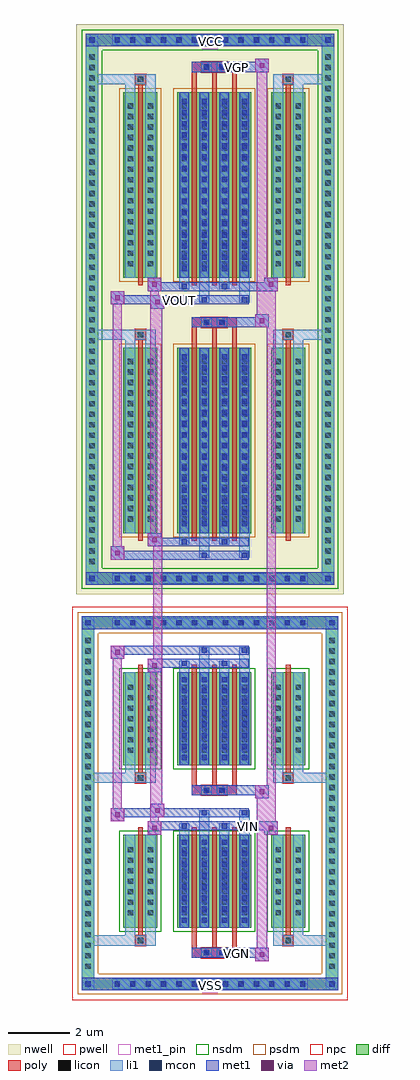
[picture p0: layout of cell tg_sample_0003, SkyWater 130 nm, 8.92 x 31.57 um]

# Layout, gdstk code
import gdstk
lib = gdstk.Library(unit=1e-6, precision=5e-09)
def R(c, l, rs):  # rectangles x0, y0, x1, y1
    for r in rs: c.add(gdstk.rectangle(r[:2], r[2:], *l))
def A(c, l, x, y, w, h, nx, ny, dx, dy):  # array of equal rectangles
    R(c, l, [(x+i*dx, y+j*dy, x+i*dx+w, y+j*dy+h) for i in range(nx) for j in range(ny)])
def P(c, l, *ps):  # polygons
    for p in ps: c.add(gdstk.Polygon(p, *l))
nwell = (64, 20)
pwell = (64, 44)
diff = (65, 20)
poly = (66, 20)
licon = (66, 44)
li1 = (67, 20)
mcon = (67, 44)
met1_pin = (68, 16)
met1 = (68, 20)
via = (68, 44)
met2 = (69, 20)
nsdm = (93, 44)
psdm = (94, 20)
npc = (95, 20)

tg_sample_0003 = lib.new_cell('tg_sample_0003')
R(tg_sample_0003, nwell, [(-4.33,6.76,4.33,25.21)])
R(tg_sample_0003, pwell, [(-4.46,-6.36,4.46,6.36)])
A(tg_sample_0003, diff, -3.205, -6.05, 0.41, 0.41, 13, 2, 0.5, 11.69)
A(tg_sample_0003, diff, -4.15, -5.475, 0.41, 0.41, 1, 32, 0, 0.34)
A(tg_sample_0003, diff, 3.74, -5.475, 0.41, 0.41, 1, 32, 0, 0.34)
A(tg_sample_0003, diff, -3.205, 7.07, 0.41, 0.41, 13, 2, 0.5, 17.42)
A(tg_sample_0003, diff, -4.02, 7.62, 0.41, 0.41, 1, 49, 0, 0.34)
A(tg_sample_0003, diff, 3.61, 7.62, 0.41, 0.41, 1, 49, 0, 0.34)
R(tg_sample_0003, diff, [(-3.205,-6.05,3.205,-5.64), (-4.15,-5.475,-3.74,5.475), (3.74,-5.475,4.15,5.475), (-2.8,-4.02,-1.7,-1.02), (-1.06,-4.02,1.34,-1.02), (1.98,-4.02,3.08,-1.02), (-2.8,1.24,-1.7,4.24), (-1.06,1.24,1.34,4.24), (1.98,1.24,3.08,4.24), (-3.205,5.64,3.205,6.05), (-3.205,7.07,3.205,7.48), (-4.02,7.62,-3.61,24.35), (3.61,7.62,4.02,24.35), (-2.8,8.745,-1.7,14.745), (-1.06,8.745,1.34,14.745), (1.98,8.745,3.08,14.745), (-2.8,17.005,-1.7,23.005), (-1.06,17.005,1.34,23.005), (1.98,17.005,3.08,23.005), (-3.205,24.49,3.205,24.9)])
P(tg_sample_0003, diff, [(4.15,6.05),(-4.15,6.05),(-4.15,-5.64),(-3.74,-5.64),(-3.74,5.64),(3.74,5.64),(3.74,-5.64),(-3.74,-5.64),(-4.15,-5.64),(-4.15,-6.05),(4.15,-6.05)],
  [(4.02,7.07),(-4.02,7.07),(-4.02,24.49),(-3.61,24.49),(-3.61,7.48),(3.61,7.48),(3.61,24.49),(-3.61,24.49),(-4.02,24.49),(-4.02,24.9),(4.02,24.9)])
A(tg_sample_0003, poly, -0.585, -4.67, 0.15, 0.4, 3, 2, 0.65, 5.26)
A(tg_sample_0003, poly, -0.585, -4.27, 0.15, 3.5, 3, 2, 0.65, 5.26)
A(tg_sample_0003, poly, -0.585, 8.495, 0.15, 6.5, 3, 2, 0.65, 8.26)
A(tg_sample_0003, poly, -0.585, 14.995, 0.15, 0.4, 3, 2, 0.65, 8.26)
R(tg_sample_0003, poly, [(-0.585,-5,0.865,-4.67), (-0.275,-5,0.055,-4.67), (0.225,-5,0.555,-4.67), (-2.415,-4.6,-2.085,-4.27), (-2.415,-4.6,-2.085,-4.27), (2.365,-4.6,2.695,-4.27), (2.365,-4.6,2.695,-4.27), (-2.325,-4.27,-2.175,-0.77), (2.455,-4.27,2.605,-0.77), (-0.585,0.26,0.865,0.59), (-0.275,0.26,0.055,0.59), (0.225,0.26,0.555,0.59), (-2.415,0.66,-2.085,0.99), (-2.415,0.66,-2.085,0.99), (2.365,0.66,2.695,0.99), (2.365,0.66,2.695,0.99), (-2.325,0.99,-2.175,4.49), (2.455,0.99,2.605,4.49), (-2.325,8.495,-2.175,14.995), (2.455,8.495,2.605,14.995), (-2.415,14.995,-2.085,15.325), (-2.415,14.995,-2.085,15.325), (2.365,14.995,2.695,15.325), (2.365,14.995,2.695,15.325), (-0.585,15.395,0.865,15.725), (-0.275,15.395,0.055,15.725), (0.225,15.395,0.555,15.725), (-2.325,16.755,-2.175,23.255), (2.455,16.755,2.605,23.255), (-2.415,23.255,-2.085,23.585), (-2.415,23.255,-2.085,23.585), (2.365,23.255,2.695,23.585), (2.365,23.255,2.695,23.585), (-0.585,23.655,0.865,23.985), (-0.275,23.655,0.055,23.985), (0.225,23.655,0.555,23.985)])
A(tg_sample_0003, licon, -3.085, -5.93, 0.17, 0.17, 13, 2, 0.5, 11.69)
A(tg_sample_0003, licon, -4.03, -5.355, 0.17, 0.17, 1, 32, 0, 0.34)
A(tg_sample_0003, licon, 3.86, -5.355, 0.17, 0.17, 1, 32, 0, 0.34)
A(tg_sample_0003, licon, -2.66, -3.625, 0.17, 0.17, 1, 7, 0, 0.34)
A(tg_sample_0003, licon, -2.01, -3.625, 0.17, 0.17, 1, 7, 0, 0.34)
A(tg_sample_0003, licon, -0.92, -3.625, 0.17, 0.17, 4, 7, 0.65, 0.34)
A(tg_sample_0003, licon, 2.12, -3.625, 0.17, 0.17, 1, 7, 0, 0.34)
A(tg_sample_0003, licon, 2.77, -3.625, 0.17, 0.17, 1, 7, 0, 0.34)
A(tg_sample_0003, licon, -2.66, 1.635, 0.17, 0.17, 1, 7, 0, 0.34)
A(tg_sample_0003, licon, -2.01, 1.635, 0.17, 0.17, 1, 7, 0, 0.34)
A(tg_sample_0003, licon, -0.92, 1.635, 0.17, 0.17, 4, 7, 0.65, 0.34)
A(tg_sample_0003, licon, 2.12, 1.635, 0.17, 0.17, 1, 7, 0, 0.34)
A(tg_sample_0003, licon, 2.77, 1.635, 0.17, 0.17, 1, 7, 0, 0.34)
A(tg_sample_0003, licon, -3.085, 7.19, 0.17, 0.17, 13, 2, 0.5, 17.42)
A(tg_sample_0003, licon, -3.9, 7.74, 0.17, 0.17, 1, 49, 0, 0.34)
A(tg_sample_0003, licon, 3.73, 7.74, 0.17, 0.17, 1, 49, 0, 0.34)
A(tg_sample_0003, licon, -2.66, 9.11, 0.17, 0.17, 1, 16, 0, 0.34)
A(tg_sample_0003, licon, -2.01, 9.11, 0.17, 0.17, 1, 16, 0, 0.34)
A(tg_sample_0003, licon, -0.92, 9.11, 0.17, 0.17, 4, 16, 0.65, 0.34)
A(tg_sample_0003, licon, 2.12, 9.11, 0.17, 0.17, 1, 16, 0, 0.34)
A(tg_sample_0003, licon, 2.77, 9.11, 0.17, 0.17, 1, 16, 0, 0.34)
A(tg_sample_0003, licon, -2.66, 17.37, 0.17, 0.17, 1, 16, 0, 0.34)
A(tg_sample_0003, licon, -2.01, 17.37, 0.17, 0.17, 1, 16, 0, 0.34)
A(tg_sample_0003, licon, -0.92, 17.37, 0.17, 0.17, 4, 16, 0.65, 0.34)
A(tg_sample_0003, licon, 2.12, 17.37, 0.17, 0.17, 1, 16, 0, 0.34)
A(tg_sample_0003, licon, 2.77, 17.37, 0.17, 0.17, 1, 16, 0, 0.34)
R(tg_sample_0003, licon, [(-0.195,-4.92,-0.025,-4.75), (0.305,-4.92,0.475,-4.75), (-2.335,-4.52,-2.165,-4.35), (2.445,-4.52,2.615,-4.35), (-0.195,0.34,-0.025,0.51), (0.305,0.34,0.475,0.51), (-2.335,0.74,-2.165,0.91), (2.445,0.74,2.615,0.91), (-2.335,15.075,-2.165,15.245), (2.445,15.075,2.615,15.245), (-0.195,15.475,-0.025,15.645), (0.305,15.475,0.475,15.645), (-2.335,23.335,-2.165,23.505), (2.445,23.335,2.615,23.505), (-0.195,23.735,-0.025,23.905), (0.305,23.735,0.475,23.905)])
A(tg_sample_0003, li1, -3.165, -6.01, 0.33, 0.33, 13, 2, 0.5, 11.69)
A(tg_sample_0003, li1, -4.11, -5.435, 0.33, 0.33, 1, 32, 0, 0.34)
A(tg_sample_0003, li1, 3.78, -5.435, 0.33, 0.33, 1, 32, 0, 0.34)
A(tg_sample_0003, li1, -1, -4.02, 0.33, 3, 4, 2, 0.65, 5.26)
A(tg_sample_0003, li1, -0.92, -3.865, 0.17, 0.17, 4, 8, 0.65, 0.36)
A(tg_sample_0003, li1, -0.92, -3.865, 0.17, 2.69, 4, 2, 0.65, 5.26)
A(tg_sample_0003, li1, -2.74, -3.705, 0.33, 0.33, 1, 7, 0, 0.34)
A(tg_sample_0003, li1, -2.09, -3.705, 0.33, 0.33, 1, 7, 0, 0.34)
A(tg_sample_0003, li1, -1, -3.705, 0.33, 0.33, 4, 7, 0.65, 0.34)
A(tg_sample_0003, li1, 2.04, -3.705, 0.33, 0.33, 1, 7, 0, 0.34)
A(tg_sample_0003, li1, 2.69, -3.705, 0.33, 0.33, 1, 7, 0, 0.34)
A(tg_sample_0003, li1, -0.92, 1.395, 0.17, 0.17, 4, 8, 0.65, 0.36)
A(tg_sample_0003, li1, -2.74, 1.555, 0.33, 0.33, 1, 7, 0, 0.34)
A(tg_sample_0003, li1, -2.09, 1.555, 0.33, 0.33, 1, 7, 0, 0.34)
A(tg_sample_0003, li1, -1, 1.555, 0.33, 0.33, 4, 7, 0.65, 0.34)
A(tg_sample_0003, li1, 2.04, 1.555, 0.33, 0.33, 1, 7, 0, 0.34)
A(tg_sample_0003, li1, 2.69, 1.555, 0.33, 0.33, 1, 7, 0, 0.34)
A(tg_sample_0003, li1, -3.165, 7.11, 0.33, 0.33, 13, 2, 0.5, 17.42)
A(tg_sample_0003, li1, -3.98, 7.66, 0.33, 0.33, 1, 49, 0, 0.34)
A(tg_sample_0003, li1, 3.65, 7.66, 0.33, 0.33, 1, 49, 0, 0.34)
A(tg_sample_0003, li1, -1, 8.745, 0.33, 6, 4, 2, 0.65, 8.26)
A(tg_sample_0003, li1, -0.92, 8.96, 0.17, 0.17, 4, 16, 0.65, 0.36)
A(tg_sample_0003, li1, -0.92, 8.96, 0.17, 5.57, 4, 2, 0.65, 8.26)
A(tg_sample_0003, li1, -2.74, 9.03, 0.33, 0.33, 1, 16, 0, 0.34)
A(tg_sample_0003, li1, -2.09, 9.03, 0.33, 0.33, 1, 16, 0, 0.34)
A(tg_sample_0003, li1, -1, 9.03, 0.33, 0.33, 4, 16, 0.65, 0.34)
A(tg_sample_0003, li1, 2.04, 9.03, 0.33, 0.33, 1, 16, 0, 0.34)
A(tg_sample_0003, li1, 2.69, 9.03, 0.33, 0.33, 1, 16, 0, 0.34)
A(tg_sample_0003, li1, -0.92, 17.22, 0.17, 0.17, 4, 16, 0.65, 0.36)
A(tg_sample_0003, li1, -2.74, 17.29, 0.33, 0.33, 1, 16, 0, 0.34)
A(tg_sample_0003, li1, -2.09, 17.29, 0.33, 0.33, 1, 16, 0, 0.34)
A(tg_sample_0003, li1, -1, 17.29, 0.33, 0.33, 4, 16, 0.65, 0.34)
A(tg_sample_0003, li1, 2.04, 17.29, 0.33, 0.33, 1, 16, 0, 0.34)
A(tg_sample_0003, li1, 2.69, 17.29, 0.33, 0.33, 1, 16, 0, 0.34)
R(tg_sample_0003, li1, [(-4.15,-6.05,-3.74,-5.64), (3.74,-6.05,4.15,-5.64), (-3.165,-6.01,3.165,-5.68), (-4.03,-5.93,-3.86,-5.76), (-4.03,-5.93,-3.86,-5.76), (3.86,-5.93,4.03,-5.76), (3.86,-5.93,4.03,-5.76), (-4.15,-5.64,-3.74,5.64), (3.74,-5.64,4.15,5.64), (-0.275,-5,0.055,-4.67), (0.225,-5,0.555,-4.67), (-4.15,-4.6,-2.415,-4.27), (-2.74,-4.6,-2.415,-4.27), (-2.74,-4.6,-2.41,-4.02), (-2.415,-4.6,-2.085,-4.27), (-2.09,-4.6,-1.76,-4.02), (-2.085,-4.6,-1.76,-4.27), (2.04,-4.6,2.365,-4.27), (2.04,-4.6,2.37,-4.02), (2.365,-4.6,2.695,-4.27), (2.365,-4.6,4.15,-4.27), (2.69,-4.6,3.02,-4.02), (2.695,-4.6,3.02,-4.27), (-2.74,-4.02,-2.41,-1.02), (-2.09,-4.02,-1.76,-1.02), (2.04,-4.02,2.37,-1.02), (2.69,-4.02,3.02,-1.02), (-1,-1.02,-0.67,-0.645), (-0.35,-1.02,-0.02,-0.215), (0.3,-1.02,0.63,-0.645), (0.95,-1.02,1.28,-0.215), (-0.92,-0.815,-0.75,-0.645), (0.38,-0.815,0.55,-0.645), (-0.27,-0.385,-0.1,-0.215), (1.03,-0.385,1.2,-0.215), (-0.275,0.26,0.055,0.59), (0.225,0.26,0.555,0.59), (-4.15,0.66,-2.415,0.99), (-2.74,0.66,-2.415,0.99), (-2.74,0.66,-2.41,1.24), (-2.415,0.66,-2.085,0.99), (-2.09,0.66,-1.76,1.24), (-2.085,0.66,-1.76,0.99), (2.04,0.66,2.365,0.99), (2.04,0.66,2.37,1.24), (2.365,0.66,2.695,0.99), (2.365,0.66,4.15,0.99), (2.69,0.66,3.02,1.24), (2.695,0.66,3.02,0.99), (-2.74,1.24,-2.41,4.24), (-2.09,1.24,-1.76,4.24), (2.04,1.24,2.37,4.24), (2.69,1.24,3.02,4.24), (-1,4.24,-0.67,4.615), (-0.35,4.24,-0.02,5.045), (0.3,4.24,0.63,4.615), (0.95,4.24,1.28,5.045), (-0.92,4.445,-0.75,4.615), (0.38,4.445,0.55,4.615), (-0.27,4.875,-0.1,5.045), (1.03,4.875,1.2,5.045), (-4.15,5.64,-3.74,6.05), (3.74,5.64,4.15,6.05), (-3.165,5.68,3.165,6.01), (-4.03,5.76,-3.86,5.93), (-4.03,5.76,-3.86,5.93), (3.86,5.76,4.03,5.93), (3.86,5.76,4.03,5.93), (-4.02,7.07,-3.61,7.48), (3.61,7.07,4.02,7.48), (-3.165,7.11,3.165,7.44), (-3.9,7.19,-3.73,7.36), (-3.9,7.19,-3.73,7.36), (3.73,7.19,3.9,7.36), (3.73,7.19,3.9,7.36), (-4.02,7.48,-3.61,24.49), (3.61,7.48,4.02,24.49), (-0.35,7.94,-0.02,8.745), (-0.27,7.94,-0.1,8.11), (0.95,7.94,1.28,8.745), (1.03,7.94,1.2,8.11), (-1,8.37,-0.67,8.745), (-0.92,8.37,-0.75,8.54), (0.3,8.37,0.63,8.745), (0.38,8.37,0.55,8.54), (-2.74,8.745,-2.41,14.745), (-2.09,8.745,-1.76,14.745), (2.04,8.745,2.37,14.745), (2.69,8.745,3.02,14.745), (-2.74,14.745,-2.41,15.325), (-2.09,14.745,-1.76,15.325), (2.04,14.745,2.37,15.325), (2.69,14.745,3.02,15.325), (-4.02,14.995,-2.415,15.325), (-2.74,14.995,-2.415,15.325), (-2.415,14.995,-2.085,15.325), (-2.085,14.995,-1.76,15.325), (2.04,14.995,2.365,15.325), (2.365,14.995,2.695,15.325), (2.365,14.995,4.02,15.325), (2.695,14.995,3.02,15.325), (-0.275,15.395,0.055,15.725), (0.225,15.395,0.555,15.725), (-0.35,16.2,-0.02,17.005), (-0.27,16.2,-0.1,16.37), (0.95,16.2,1.28,17.005), (1.03,16.2,1.2,16.37), (-1,16.63,-0.67,17.005), (-0.92,16.63,-0.75,16.8), (0.3,16.63,0.63,17.005), (0.38,16.63,0.55,16.8), (-2.74,17.005,-2.41,23.005), (-2.09,17.005,-1.76,23.005), (2.04,17.005,2.37,23.005), (2.69,17.005,3.02,23.005), (-2.74,23.005,-2.41,23.585), (-2.09,23.005,-1.76,23.585), (2.04,23.005,2.37,23.585), (2.69,23.005,3.02,23.585), (-4.02,23.255,-2.415,23.585), (-2.74,23.255,-2.415,23.585), (-2.415,23.255,-2.085,23.585), (-2.085,23.255,-1.76,23.585), (2.04,23.255,2.365,23.585), (2.365,23.255,2.695,23.585), (2.365,23.255,4.02,23.585), (2.695,23.255,3.02,23.585), (-0.275,23.655,0.055,23.985), (0.225,23.655,0.555,23.985), (-4.02,24.49,-3.61,24.9), (3.61,24.49,4.02,24.9), (-3.165,24.53,3.165,24.86), (-3.9,24.61,-3.73,24.78), (-3.9,24.61,-3.73,24.78), (3.73,24.61,3.9,24.78), (3.73,24.61,3.9,24.78)])
A(tg_sample_0003, mcon, -3.085, -5.93, 0.17, 0.17, 13, 2, 0.5, 11.69)
A(tg_sample_0003, mcon, -0.92, -3.865, 0.17, 0.17, 4, 8, 0.65, 0.36)
A(tg_sample_0003, mcon, -0.92, 1.395, 0.17, 0.17, 4, 8, 0.65, 0.36)
A(tg_sample_0003, mcon, -3.085, 7.19, 0.17, 0.17, 13, 2, 0.5, 17.42)
A(tg_sample_0003, mcon, -0.92, 8.96, 0.17, 0.17, 4, 16, 0.65, 0.36)
A(tg_sample_0003, mcon, -0.92, 17.22, 0.17, 0.17, 4, 16, 0.65, 0.36)
R(tg_sample_0003, mcon, [(-4.03,-5.93,-3.86,-5.76), (3.86,-5.93,4.03,-5.76), (-0.195,-4.92,-0.025,-4.75), (0.305,-4.92,0.475,-4.75), (-0.92,-0.815,-0.75,-0.645), (0.38,-0.815,0.55,-0.645), (-0.27,-0.385,-0.1,-0.215), (1.03,-0.385,1.2,-0.215), (-0.195,0.34,-0.025,0.51), (0.305,0.34,0.475,0.51), (-0.92,4.445,-0.75,4.615), (0.38,4.445,0.55,4.615), (-0.27,4.875,-0.1,5.045), (1.03,4.875,1.2,5.045), (-4.03,5.76,-3.86,5.93), (3.86,5.76,4.03,5.93), (-3.9,7.19,-3.73,7.36), (3.73,7.19,3.9,7.36), (-0.27,7.94,-0.1,8.11), (1.03,7.94,1.2,8.11), (-0.92,8.37,-0.75,8.54), (0.38,8.37,0.55,8.54), (-0.195,15.475,-0.025,15.645), (0.305,15.475,0.475,15.645), (-0.27,16.2,-0.1,16.37), (1.03,16.2,1.2,16.37), (-0.92,16.63,-0.75,16.8), (0.38,16.63,0.55,16.8), (-0.195,23.735,-0.025,23.905), (0.305,23.735,0.475,23.905), (-3.9,24.61,-3.73,24.78), (3.73,24.61,3.9,24.78)])
R(tg_sample_0003, met1_pin, [(-0.25,-6.14,0.25,-5.64), (0.73,-5,1,-4.73), (1.125,-0.875,1.395,-0.605), (-1.115,16.14,-0.845,16.41), (0.73,23.655,1,23.925), (-0.25,24.4,0.25,24.9)])
A(tg_sample_0003, met1, -3.145, -5.99, 0.29, 0.29, 13, 2, 0.5, 11.69)
A(tg_sample_0003, met1, -0.98, -4.02, 0.29, 3, 4, 2, 0.65, 5.26)
A(tg_sample_0003, met1, -0.98, -3.925, 0.29, 0.29, 4, 8, 0.65, 0.36)
A(tg_sample_0003, met1, -0.98, 1.335, 0.29, 0.29, 4, 8, 0.65, 0.36)
A(tg_sample_0003, met1, -3.145, 7.13, 0.29, 0.29, 13, 2, 0.5, 17.42)
A(tg_sample_0003, met1, -0.98, 8.745, 0.29, 6, 4, 2, 0.65, 8.26)
A(tg_sample_0003, met1, -0.98, 8.9, 0.29, 0.29, 4, 16, 0.65, 0.36)
A(tg_sample_0003, met1, -0.98, 17.16, 0.29, 0.29, 4, 16, 0.65, 0.36)
R(tg_sample_0003, met1, [(-4.15,-6.05,-3.74,-5.64), (-4.15,-6.05,-3.74,-5.64), (-3.74,-6.05,3.74,-5.64), (3.74,-6.05,4.15,-5.64), (3.74,-6.05,4.15,-5.64), (-4.09,-5.99,-3.8,-5.7), (3.8,-5.99,4.09,-5.7), (1.465,-5.1,1.895,-4.67), (-0.585,-5,0.865,-4.67), (0.865,-5,1.895,-4.67), (-0.255,-4.98,0.035,-4.69), (0.245,-4.98,0.535,-4.69), (-2.01,-1.015,-1.58,-0.585), (1.76,-1.015,2.19,-0.585), (-2.01,-0.875,-0.98,-0.585), (-0.98,-0.875,-0.69,-0.585), (-0.98,-0.875,1.26,-0.585), (0.32,-0.875,0.61,-0.585), (1.26,-0.875,2.19,-0.585), (-3.21,-0.585,-2.78,-0.155), (-3.21,-0.445,-0.98,-0.155), (-1.91,-0.445,-1.48,-0.015), (-1.91,-0.445,-0.98,-0.155), (-0.98,-0.445,1.26,-0.155), (-0.33,-0.445,-0.04,-0.155), (0.97,-0.445,1.26,-0.155), (1.465,0.16,1.895,0.59), (-0.585,0.26,0.865,0.59), (0.865,0.26,1.895,0.59), (-0.255,0.28,0.035,0.57), (0.245,0.28,0.535,0.57), (-2.01,4.245,-1.58,4.675), (-2.01,4.385,-0.98,4.675), (-0.98,4.385,-0.69,4.675), (-0.98,4.385,1.26,4.675), (0.32,4.385,0.61,4.675), (-3.21,4.675,-2.78,5.105), (-3.21,4.815,-0.98,5.105), (-0.98,4.815,1.26,5.105), (-0.33,4.815,-0.04,5.105), (0.97,4.815,1.26,5.105), (-4.15,5.64,-3.74,6.05), (-4.15,5.64,-3.74,6.05), (-3.74,5.64,3.74,6.05), (3.74,5.64,4.15,6.05), (3.74,5.64,4.15,6.05), (-4.09,5.7,-3.8,5.99), (3.8,5.7,4.09,5.99), (-4.02,7.07,-3.61,7.48), (-4.02,7.07,-3.61,7.48), (-3.61,7.07,3.61,7.48), (3.61,7.07,4.02,7.48), (3.61,7.07,4.02,7.48), (-3.96,7.13,-3.67,7.42), (3.67,7.13,3.96,7.42), (-3.21,7.88,-2.78,8.31), (-3.21,7.88,-0.98,8.17), (-0.98,7.88,1.26,8.17), (-0.33,7.88,-0.04,8.17), (0.97,7.88,1.26,8.17), (-2.01,8.31,-1.58,8.74), (-2.01,8.31,-0.98,8.6), (-0.98,8.31,-0.69,8.6), (-0.98,8.31,1.26,8.6), (0.32,8.31,0.61,8.6), (-0.585,15.395,0.865,15.725), (0.865,15.395,1.895,15.725), (1.465,15.395,1.895,15.825), (-0.255,15.415,0.035,15.705), (0.245,15.415,0.535,15.705), (-1.91,16,-1.48,16.43), (-3.21,16.14,-2.78,16.57), (-3.21,16.14,-0.98,16.43), (-1.91,16.14,-0.98,16.43), (-0.98,16.14,1.26,16.43), (-0.33,16.14,-0.04,16.43), (0.97,16.14,1.26,16.43), (-2.01,16.57,-1.58,17), (-2.01,16.57,-0.98,16.86), (-0.98,16.57,-0.69,16.86), (-0.98,16.57,1.26,16.86), (0.32,16.57,0.61,16.86), (1.26,16.57,2.19,16.86), (1.76,16.57,2.19,17), (-0.585,23.655,0.865,23.985), (0.865,23.655,1.895,23.985), (1.465,23.655,1.895,24.085), (-0.255,23.675,0.035,23.965), (0.245,23.675,0.535,23.965), (-4.02,24.49,-3.61,24.9), (-4.02,24.49,-3.61,24.9), (-3.61,24.49,3.61,24.9), (3.61,24.49,4.02,24.9), (3.61,24.49,4.02,24.9), (-3.96,24.55,-3.67,24.84), (3.67,24.55,3.96,24.84)])
R(tg_sample_0003, via, [(1.605,-4.96,1.755,-4.81), (-1.87,-0.875,-1.72,-0.725), (1.9,-0.875,2.05,-0.725), (-3.07,-0.445,-2.92,-0.295), (-1.77,-0.305,-1.62,-0.155), (1.605,0.3,1.755,0.45), (-1.87,4.385,-1.72,4.535), (-3.07,4.815,-2.92,4.965), (-3.07,8.02,-2.92,8.17), (-1.87,8.45,-1.72,8.6), (1.605,15.535,1.755,15.685), (-1.77,16.14,-1.62,16.29), (-3.07,16.28,-2.92,16.43), (-1.87,16.71,-1.72,16.86), (1.9,16.71,2.05,16.86), (1.605,23.795,1.755,23.945)])
R(tg_sample_0003, met2, [(1.465,-5.1,1.895,-4.67), (1.515,-5.1,1.845,0.59), (1.845,-5.1,1.895,-4.67), (1.515,-5.05,1.845,-4.72), (-2.01,-1.015,-1.58,-0.585), (-1.94,-1.015,-1.65,4.675), (-1.65,-1.015,-1.58,-0.585), (1.76,-1.015,2.19,-0.585), (1.83,-1.015,2.12,17), (2.12,-1.015,2.19,-0.585), (-1.96,-0.965,-1.63,-0.635), (1.81,-0.965,2.14,-0.635), (-3.21,-0.585,-2.78,-0.155), (-3.14,-0.585,-2.85,5.105), (-2.85,-0.585,-2.78,-0.155), (-3.16,-0.535,-2.83,-0.205), (-1.91,-0.445,-1.48,-0.015), (-1.84,-0.445,-1.55,16.43), (-1.55,-0.445,-1.48,-0.015), (-1.86,-0.395,-1.53,-0.065), (1.465,0.16,1.895,0.59), (1.845,0.16,1.895,0.59), (1.515,0.21,1.845,0.54), (-2.01,4.245,-1.58,4.675), (-1.65,4.245,-1.58,4.675), (-1.96,4.295,-1.63,4.625), (-3.21,4.675,-2.78,5.105), (-2.85,4.675,-2.78,5.105), (-3.16,4.725,-2.83,5.055), (-3.21,7.88,-2.78,8.31), (-3.14,7.88,-2.85,16.57), (-2.85,7.88,-2.78,8.31), (-3.16,7.93,-2.83,8.26), (-2.01,8.31,-1.58,8.74), (-1.94,8.31,-1.65,17), (-1.65,8.31,-1.58,8.74), (-1.96,8.36,-1.63,8.69), (1.465,15.395,1.895,15.825), (1.515,15.395,1.845,24.085), (1.845,15.395,1.895,15.825), (1.515,15.445,1.845,15.775), (-1.91,16,-1.48,16.43), (-1.55,16,-1.48,16.43), (-1.86,16.05,-1.53,16.38), (-3.21,16.14,-2.78,16.57), (-2.85,16.14,-2.78,16.57), (-3.16,16.19,-2.83,16.52), (-2.01,16.57,-1.58,17), (-1.65,16.57,-1.58,17), (1.76,16.57,2.19,17), (2.12,16.57,2.19,17), (-1.96,16.62,-1.63,16.95), (1.81,16.62,2.14,16.95), (1.465,23.655,1.895,24.085), (1.845,23.655,1.895,24.085), (1.515,23.705,1.845,24.035)])
R(tg_sample_0003, nsdm, [(-2.93,-4.15,-1.57,-0.89), (-1.19,-4.15,1.47,-0.89), (1.85,-4.15,3.21,-0.89), (-2.93,1.11,-1.57,4.37), (-1.19,1.11,1.47,4.37), (1.85,1.11,3.21,4.37)])
P(tg_sample_0003, nsdm, [(4.15,6.94),(-4.15,6.94),(-4.15,24.36),(-3.48,24.36),(-3.48,7.61),(3.48,7.61),(3.48,24.36),(-3.48,24.36),(-4.15,24.36),(-4.15,25.03),(4.15,25.03)])
R(tg_sample_0003, psdm, [(-2.93,8.615,-1.57,14.875), (-1.19,8.615,1.47,14.875), (1.85,8.615,3.21,14.875), (-2.93,16.875,-1.57,23.135), (-1.19,16.875,1.47,23.135), (1.85,16.875,3.21,23.135)])
P(tg_sample_0003, psdm, [(4.28,6.18),(-4.28,6.18),(-4.28,-5.51),(-3.61,-5.51),(-3.61,5.51),(3.61,5.51),(3.61,-5.51),(-3.61,-5.51),(-4.28,-5.51),(-4.28,-6.18),(4.28,-6.18)])
R(tg_sample_0003, npc, [(-0.295,-5.02,0.075,-4.65), (-0.295,-5.02,0.575,-4.65), (-0.295,-5.02,0.575,-4.65), (0.205,-5.02,0.575,-4.65), (-2.435,-4.62,-2.065,-4.25), (2.345,-4.62,2.715,-4.25), (-0.295,0.24,0.075,0.61), (-0.295,0.24,0.575,0.61), (-0.295,0.24,0.575,0.61), (0.205,0.24,0.575,0.61), (-2.435,0.64,-2.065,1.01), (2.345,0.64,2.715,1.01), (-2.435,14.975,-2.065,15.345), (2.345,14.975,2.715,15.345), (-0.295,15.375,0.075,15.745), (-0.295,15.375,0.575,15.745), (-0.295,15.375,0.575,15.745), (0.205,15.375,0.575,15.745), (-2.435,23.235,-2.065,23.605), (2.345,23.235,2.715,23.605), (-0.295,23.635,0.075,24.005), (-0.295,23.635,0.575,24.005), (-0.295,23.635,0.575,24.005), (0.205,23.635,0.575,24.005)])
tg_sample_0003.add(gdstk.Label('VIN', (1.26,-0.74), layer=68, texttype=5))
tg_sample_0003.add(gdstk.Label('VGN', (0.865,-4.865), layer=68, texttype=5))
tg_sample_0003.add(gdstk.Label('VGP', (0.865,23.79), layer=68, texttype=5))
tg_sample_0003.add(gdstk.Label('VSS', (0,-5.89), layer=68, texttype=5))
tg_sample_0003.add(gdstk.Label('VCC', (0,24.65), layer=68, texttype=5))
tg_sample_0003.add(gdstk.Label('VOUT', (-0.98,16.275), layer=68, texttype=5))

lib.write_gds('tg_sample_0003.gds')
